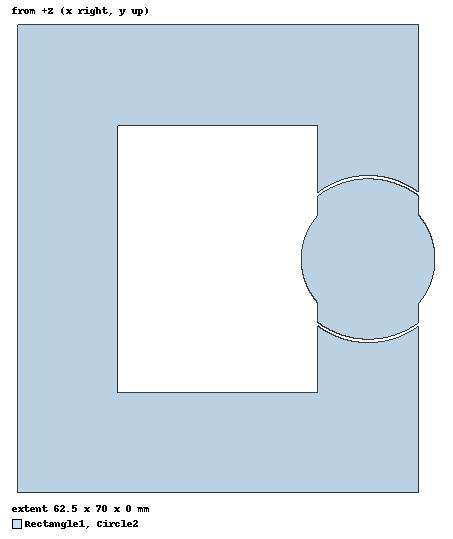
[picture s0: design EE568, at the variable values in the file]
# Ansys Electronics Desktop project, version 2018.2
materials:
  vacuum: permittivity=1

design EE568 (Maxwell 2D, Magnetostatic, XY geometry, model units mm)
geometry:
  Rectangle1 [vacuum] = rectangle(corner=(0mm, 0mm, 0mm), x_size=60mm, y_size=70mm)
  Rectangle2 = rectangle(corner=(15mm, 15mm, 0mm), x_size=30mm, y_size=40mm)
  Rectangle1.subtract(Rectangle2)
  Circle1 = circle(normal=Z, centre=(52.5mm, 35mm, 0mm), radius=12.5mm)
  Rectangle1.subtract(Circle1)
  Circle2 [vacuum] = circle(normal=Z, centre=(52.5mm, 35mm, 0mm), radius=10mm)
  Polyline6 = polyline(z=0mm, xy in mm: (45, 44.5) (52.5, 47) (60, 44.5) (60, 25.5) (52.5, 23) (45, 25.5) (45, 44.5), closed, covered, Arc from point 0 over 3, Arc from point 3 over 3)
  Circle2.unite(Polyline6)
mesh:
  initial mesh: MeshMethod=AnsoftTAU
